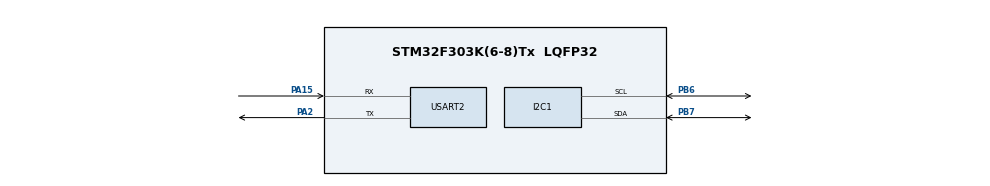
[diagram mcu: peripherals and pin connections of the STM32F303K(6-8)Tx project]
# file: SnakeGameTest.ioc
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FREERTOS.BinarySemaphores01=myBinarySem01,Dynamic,NULL,Depleted
FREERTOS.Mutexes01=OLED,Dynamic,NULL,Available
FREERTOS.Tasks01=defaultTask,24,128,StartDefaultTask,Default,NULL,Dynamic,NULL,NULL;SnakeMove,40,128,StartTaskSnakeMove,Default,NULL,Dynamic,NULL,NULL;scoreWrite,48,128,StartTaskscoreWrite,Default,NULL,Dynamic,NULL,NULL
FREERTOS.configUSE_NEWLIB_REENTRANT=1
I2C1.Timing=0x00201D2B
Mcu.Family=STM32F3
Mcu.Name=STM32F303K(6-8)Tx
Mcu.Package=LQFP32
NVIC.PriorityGroup=NVIC_PRIORITYGROUP_4
NVIC.TIM6_DAC1_IRQn=true\:15\:0\:false\:false\:true\:false\:false\:true\:true
NVIC.TimeBase=TIM6_DAC1_IRQn
NVIC.TimeBaseIP=TIM6
NVIC.USART2_IRQn=true\:5\:0\:false\:false\:true\:true\:true\:true\:true
PA13.GPIO_Label=SWDIO
PA13.Signal=SYS_JTMS-SWDIO
PA14.GPIO_Label=SWCLK
PA14.Signal=SYS_JTCK-SWCLK
PA15.Mode=Asynchronous
PA15.Signal=USART2_RX
PA2.Mode=Asynchronous
PA2.Signal=USART2_TX
PB6.Mode=I2C
PB6.Signal=I2C1_SCL
PB7.Mode=I2C
PB7.Signal=I2C1_SDA
PF0\ /\ OSC_IN.GPIO_Label=MCO
PF0\ /\ OSC_IN.Mode=HSE-External-Clock-Source
PF0\ /\ OSC_IN.Signal=RCC_OSC_IN
ProjectManager.HeapSize=0x200
ProjectManager.StackSize=0x400
ProjectManager.TargetToolchain=STM32CubeIDE
RCC.AHBFreq_Value=8000000
RCC.APB1Freq_Value=8000000
RCC.APB2Freq_Value=8000000
RCC.CortexFreq_Value=8000000
RCC.HSE_VALUE=8000000
RCC.HSI_VALUE=8000000
RCC.SYSCLKFreq_VALUE=8000000
USART2.VirtualMode-Asynchronous=VM_ASYNC
VP_FREERTOS_VS_CMSIS_V2.Mode=CMSIS_V2
VP_SYS_VS_tim6.Mode=TIM6
board=NUCLEO-F303K8

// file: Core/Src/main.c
	/* USER CODE BEGIN Header */
	/**
	  ******************************************************************************
	  * @file           : main.c
	  * @brief          : Main program body
	  ******************************************************************************
	  * @attention
	  *
	  * Copyright (c) 2025 STMicroelectronics.
	  * All rights reserved.
	  *
	  * This software is licensed under terms that can be found in the LICENSE file
	  * in the root directory of this software component.
	  * If no LICENSE file comes with this software, it is provided AS-IS.
	  *
	  ******************************************************************************
	  */
	/* USER CODE END Header */
	/* Includes ------------------------------------------------------------------*/
	#include "main.h"
	#include "cmsis_os.h"

	/* Private includes ----------------------------------------------------------*/
	/* USER CODE BEGIN Includes */
	#include "ssd1306.h"
	#include "stdlib.h"
	#include <stdbool.h>
	#include <stdio.h>
	#include <string.h>
	#include "stm32f3xx_hal_uart.h"  // ✅ this includes the UART HAL functions
	extern UART_HandleTypeDef huart2; // ✅ lets you access the UART handle
	//gittry

	typedef struct {
		int x, y;
	} Point;

	#define GRID_SIZE 4
	#define WIDTH 128
	#define HEIGHT 64
	#define MAX_LENGTH 100

	Point snake[MAX_LENGTH];
	int snake_length = 3;
	int dx = 1, dy = 0;
	Point food = {10, 10};
	bool gameOver = false;
	uint8_t rx_data[1];

	/* USER CODE END Includes */

	/* Private typedef -----------------------------------------------------------*/

	/* Private define ------------------------------------------------------------*/

	/* Private macro -------------------------------------------------------------*/

	/* Private variables ---------------------------------------------------------*/
	I2C_HandleTypeDef hi2c1;

	UART_HandleTypeDef huart2;

	/* Definitions for defaultTask */
	osThreadId_t defaultTaskHandle;
	const osThreadAttr_t defaultTask_attributes = {
	  .name = "defaultTask",
	  .stack_size = 128 * 4,
	  .priority = (osPriority_t) osPriorityNormal,
	};
	/* Definitions for SnakeMove */
	osThreadId_t SnakeMoveHandle;
	const osThreadAttr_t SnakeMove_attributes = {
	  .name = "SnakeMove",
	  .stack_size = 128 * 4,
	  .priority = (osPriority_t) osPriorityHigh,
	};
	/* Definitions for scoreWrite */
	osThreadId_t scoreWriteHandle;
	const osThreadAttr_t scoreWrite_attributes = {
	  .name = "scoreWrite",
	  .stack_size = 128 * 4,
	  .priority = (osPriority_t) osPriorityRealtime,
	};
	/* Definitions for OLED */
	osMutexId_t OLEDHandle;
	const osMutexAttr_t OLED_attributes = {
	  .name = "OLED"
	};
	/* Definitions for myBinarySem01 */
	osSemaphoreId_t myBinarySem01Handle;
	const osSemaphoreAttr_t myBinarySem01_attributes = {
	  .name = "myBinarySem01"
	};
	/* USER CODE BEGIN PV */
	#define OLED_LOCK()    osMutexAcquire(OLEDHandle, osWaitForever)
	#define OLED_UNLOCK()  osMutexRelease(OLEDHandle)
	/* USER CODE END PV */

	/* Private function prototypes -----------------------------------------------*/
	void SystemClock_Config(void);
	static void MX_GPIO_Init(void);
	static void MX_I2C1_Init(void);
	static void MX_USART2_UART_Init(void);
	void StartDefaultTask(void *argument);
	void StartTaskSnakeMove(void *argument);
	void StartTaskscoreWrite(void *argument);

	/* Private user code ---------------------------------------------------------*/
	/* USER CODE BEGIN 0 */
	void spawnFood() {
		food.x = (HAL_GetTick() / 10) % (WIDTH / GRID_SIZE - 2) + 1;
		food.y = (HAL_GetTick() / 13) % (HEIGHT / GRID_SIZE - 2) + 1;
	}

	void moveSnake(void)
	{
		bool ate = false;

		// head move
		int newX = snake[0].x + dx;
		int newY = snake[0].y + dy;

		// duvar kontrolü
		if (newX <= 0 || newX >= WIDTH/GRID_SIZE ||
			newY <= 0 || newY >= HEIGHT/GRID_SIZE) {
			snake_length = 3;
			snake[0].x = 10;
			snake[0].y = 10;
			dx = 1; dy = 0;
			return;
		}

		// food?
		if (newX == food.x && newY == food.y) {
			ate = true;
		}

		/* gövdeyi kaydır (şu anki uzunluk kadar) */
		for (int i = snake_length - 1; i > 0; i--) {
			snake[i] = snake[i - 1];
		}

		/* yeni kafa */
		snake[0].x = newX;
		snake[0].y = newY;

		if (ate) {
			if (snake_length < MAX_LENGTH) {
				/* yeni eleman: eski son segmentin kopyası */
				snake[snake_length] = snake[snake_length - 1];
				snake_length++;
			}
			spawnFood();
			osSemaphoreRelease(myBinarySem01Handle);
		}
	}

	//void tickDraw(){
	//	if(snake[0].x == food.x && snake[0].y == food.y ){
	//		ssd1306_DrawString(0, 0, "✅", White);
	//
	//	}
	//}

	void drawSnake() {
		ssd1306_Fill(Black);
		for (int i = 0; i < snake_length; i++) {
			int px = snake[i].x * GRID_SIZE;
			int py = snake[i].y * GRID_SIZE;
			for (int dx = 0; dx < GRID_SIZE; dx++) {
				for (int dy = 0; dy < GRID_SIZE; dy++) {
					ssd1306_DrawPixel(px + dx, py + dy, White);
				}
			}
		}

		int fx = food.x * GRID_SIZE;
		int fy = food.y * GRID_SIZE;
		for (int dx = 0; dx < GRID_SIZE; dx++) {
			for (int dy = 0; dy < GRID_SIZE; dy++) {
				ssd1306_DrawPixel(fx + dx, fy + dy, White);
			}
		}

		ssd1306_UpdateScreen();
	}

	/* USER CODE END 0 */

	/**
	  * @brief  The application entry point.
	  * @retval int
	  */
	int main(void)
	{

	  /* MCU Configuration--------------------------------------------------------*/

	  /* Reset of all peripherals, Initializes the Flash interface and the Systick. */
	  HAL_Init();

	  /* Configure the system clock */
	  SystemClock_Config();

	  /* USER CODE BEGIN SysInit */
	  MX_I2C1_Init();
	  /* USER CODE END SysInit */

	  /* Initialize all configured peripherals */
	  MX_GPIO_Init();
	  MX_I2C1_Init();
	  MX_USART2_UART_Init();
	  /* USER CODE BEGIN 2 */
	  ssd1306_Init();
	   spawnFood();

	   HAL_UART_Receive_IT(&huart2, rx_data, 1);

	  /* USER CODE END 2 */

	  /* Init scheduler */
	  osKernelInitialize();
	  /* Create the mutex(es) */
	  /* creation of OLED */
	  OLEDHandle = osMutexNew(&OLED_attributes);

	  /* Create the semaphores(s) */
	  /* creation of myBinarySem01 */
	  myBinarySem01Handle = osSemaphoreNew(1, 0, &myBinarySem01_attributes);

	  /* Create the thread(s) */
	  /* creation of defaultTask */
	  defaultTaskHandle = osThreadNew(StartDefaultTask, NULL, &defaultTask_attributes);

	  /* creation of SnakeMove */
	  SnakeMoveHandle = osThreadNew(StartTaskSnakeMove, NULL, &SnakeMove_attributes);

	  /* creation of scoreWrite */
	  scoreWriteHandle = osThreadNew(StartTaskscoreWrite, NULL, &scoreWrite_attributes);

	  /* Start scheduler */
	  osKernelStart();

	  /* We should never get here as control is now taken by the scheduler */

	  /* Infinite loop */
	  /* USER CODE BEGIN WHILE */
	  while (1)
	  {

	//	  moveSnake();
	//	  drawSnake();
	//	 	      HAL_Delay(200);

		/* USER CODE END WHILE */

	  }
	}

	/**
	  * @brief System Clock Configuration
	  * @retval None
	  */
	void SystemClock_Config(void)
	{
	  RCC_OscInitTypeDef RCC_OscInitStruct = {0};
	  RCC_ClkInitTypeDef RCC_ClkInitStruct = {0};
	  RCC_PeriphCLKInitTypeDef PeriphClkInit = {0};

	  /** Initializes the RCC Oscillators according to the specified parameters
	  * in the RCC_OscInitTypeDef structure.
	  */
	  RCC_OscInitStruct.OscillatorType = RCC_OSCILLATORTYPE_HSI;
	  RCC_OscInitStruct.HSIState = RCC_HSI_ON;
	  RCC_OscInitStruct.HSICalibrationValue = RCC_HSICALIBRATION_DEFAULT;
	  RCC_OscInitStruct.PLL.PLLState = RCC_PLL_NONE;
	  if (HAL_RCC_OscConfig(&RCC_OscInitStruct) != HAL_OK)
	  {
		Error_Handler();
	  }

	  /** Initializes the CPU, AHB and APB buses clocks
	  */
	  RCC_ClkInitStruct.ClockType = RCC_CLOCKTYPE_HCLK|RCC_CLOCKTYPE_SYSCLK
								  |RCC_CLOCKTYPE_PCLK1|RCC_CLOCKTYPE_PCLK2;
	  RCC_ClkInitStruct.SYSCLKSource = RCC_SYSCLKSOURCE_HSI;
	  RCC_ClkInitStruct.AHBCLKDivider = RCC_SYSCLK_DIV1;
	  RCC_ClkInitStruct.APB1CLKDivider = RCC_HCLK_DIV1;
	  RCC_ClkInitStruct.APB2CLKDivider = RCC_HCLK_DIV1;

	  if (HAL_RCC_ClockConfig(&RCC_ClkInitStruct, FLASH_LATENCY_0) != HAL_OK)
	  {
		Error_Handler();
	  }
	  PeriphClkInit.PeriphClockSelection = RCC_PERIPHCLK_I2C1;
	  PeriphClkInit.I2c1ClockSelection = RCC_I2C1CLKSOURCE_HSI;
	  if (HAL_RCCEx_PeriphCLKConfig(&PeriphClkInit) != HAL_OK)
	  {
		Error_Handler();
	  }
	}

	/**
	  * @brief I2C1 Initialization Function
	  * @param None
	  * @retval None
	  */
	static void MX_I2C1_Init(void)
	{

	  hi2c1.Instance = I2C1;
	  hi2c1.Init.Timing = 0x00201D2B;
	  hi2c1.Init.OwnAddress1 = 0;
	  hi2c1.Init.AddressingMode = I2C_ADDRESSINGMODE_7BIT;
	  hi2c1.Init.DualAddressMode = I2C_DUALADDRESS_DISABLE;
	  hi2c1.Init.OwnAddress2 = 0;
	  hi2c1.Init.OwnAddress2Masks = I2C_OA2_NOMASK;
	  hi2c1.Init.GeneralCallMode = I2C_GENERALCALL_DISABLE;
	  hi2c1.Init.NoStretchMode = I2C_NOSTRETCH_DISABLE;
	  if (HAL_I2C_Init(&hi2c1) != HAL_OK)
	  {
		Error_Handler();
	  }

	  /** Configure Analogue filter
	  */
	  if (HAL_I2CEx_ConfigAnalogFilter(&hi2c1, I2C_ANALOGFILTER_ENABLE) != HAL_OK)
	  {
		Error_Handler();
	  }

	  /** Configure Digital filter
	  */
	  if (HAL_I2CEx_ConfigDigitalFilter(&hi2c1, 0) != HAL_OK)
	  {
		Error_Handler();
	  }

	}

	/**
	  * @brief USART2 Initialization Function
	  * @param None
	  * @retval None
	  */
	static void MX_USART2_UART_Init(void)
	{

	  huart2.Instance = USART2;
	  huart2.Init.BaudRate = 38400;
	  huart2.Init.WordLength = UART_WORDLENGTH_8B;
	  huart2.Init.StopBits = UART_STOPBITS_1;
	  huart2.Init.Parity = UART_PARITY_NONE;
	  huart2.Init.Mode = UART_MODE_TX_RX;
	  huart2.Init.HwFlowCtl = UART_HWCONTROL_NONE;
	  huart2.Init.OverSampling = UART_OVERSAMPLING_16;
	  huart2.Init.OneBitSampling = UART_ONE_BIT_SAMPLE_DISABLE;
	  huart2.AdvancedInit.AdvFeatureInit = UART_ADVFEATURE_NO_INIT;
	  if (HAL_UART_Init(&huart2) != HAL_OK)
	  {
		Error_Handler();
	  }

	}

	/**
	  * @brief GPIO Initialization Function
	  * @param None
	  * @retval None
	  */
	static void MX_GPIO_Init(void)
	{

	  /* GPIO Ports Clock Enable */
	  __HAL_RCC_GPIOF_CLK_ENABLE();
	  __HAL_RCC_GPIOA_CLK_ENABLE();
	  __HAL_RCC_GPIOB_CLK_ENABLE();

	}

	/* USER CODE BEGIN 4 */
	void HAL_UART_RxCpltCallback(UART_HandleTypeDef *huart) {

			// Restart receive
		 HAL_UART_Receive_IT(&huart2, rx_data, 1);
		   // char msg[32];
		   // sprintf(msg, "Got: %c\r\n", rx_data);
		   // HAL_UART_Receive_IT(&huart2, (uint8_t*)msg, strlen(msg), 100);

			switch (rx_data[0]) {
				case 'w': dy = -1; dx = 0; break;
				case 's': dy = 1; dx = 0;  break;
				case 'a': dx = -1; dy = 0; break;
				case 'd': dx = 1; dy = 0;  break;
			}

	}
	/* USER CODE END 4 */

	void StartDefaultTask(void *argument)
	{
	  for(;;)
	  {
		osDelay(1);
	  }
	}

	void StartTaskSnakeMove(void *argument)
	{
	  /* USER CODE BEGIN StartTaskSnakeMove */
	  /* Infinite loop */
		//uint32_t nextWake = osKernelGetTickCount();
	  for(;;)
	  {
		   moveSnake();
		  // OLED_LOCK();
			drawSnake();
			//OLED_UNLOCK();
			osDelay(150);
	  }
	  /* USER CODE END StartTaskSnakeMove */
	}

	void StartTaskscoreWrite(void *argument)
	{
		for (;;)
		{
			if (osSemaphoreAcquire(myBinarySem01Handle, osWaitForever) == osOK)
			{
				/* Blink ON */
				//OLED_LOCK();
				ssd1306_DrawPixel(0,0,White);
				ssd1306_DrawPixel(1,0,White);
				ssd1306_DrawPixel(0,1,White);
				ssd1306_DrawPixel(1,1,White);
				ssd1306_UpdateScreen();
				//OLED_UNLOCK();

				osDelay(150);  // kısa; gözle görünür

				/* Blink OFF */
				//OLED_LOCK();
				ssd1306_DrawPixel(0,0,Black);
				ssd1306_DrawPixel(1,0,Black);
				ssd1306_DrawPixel(0,1,Black);
				ssd1306_DrawPixel(1,1,Black);
				ssd1306_UpdateScreen();
				//OLED_UNLOCK();
			}
		}
	}

	/**
	  * @brief  Period elapsed callback in non blocking mode
	  * @note   This function is called  when TIM6 interrupt took place, inside
	  * HAL_TIM_IRQHandler(). It makes a direct call to HAL_IncTick() to increment
	  * a global variable "uwTick" used as application time base.
	  * @param  htim : TIM handle
	  * @retval None
	  */
	void HAL_TIM_PeriodElapsedCallback(TIM_HandleTypeDef *htim)
	{
	  if (htim->Instance == TIM6)
	  {
		HAL_IncTick();
	  }
	}

	/**
	  * @brief  This function is executed in case of error occurrence.
	  * @retval None
	  */
	void Error_Handler(void)
	{
	  __disable_irq();
	  while (1)
	  {
	  }
	}
	#ifdef USE_FULL_ASSERT
	/**
	  * @brief  Reports the name of the source file and the source line number
	  *         where the assert_param error has occurred.
	  * @param  file: pointer to the source file name
	  * @param  line: assert_param error line source number
	  * @retval None
	  */
	void assert_failed(uint8_t *file, uint32_t line)
	{
	}
	#endif /* USE_FULL_ASSERT */
